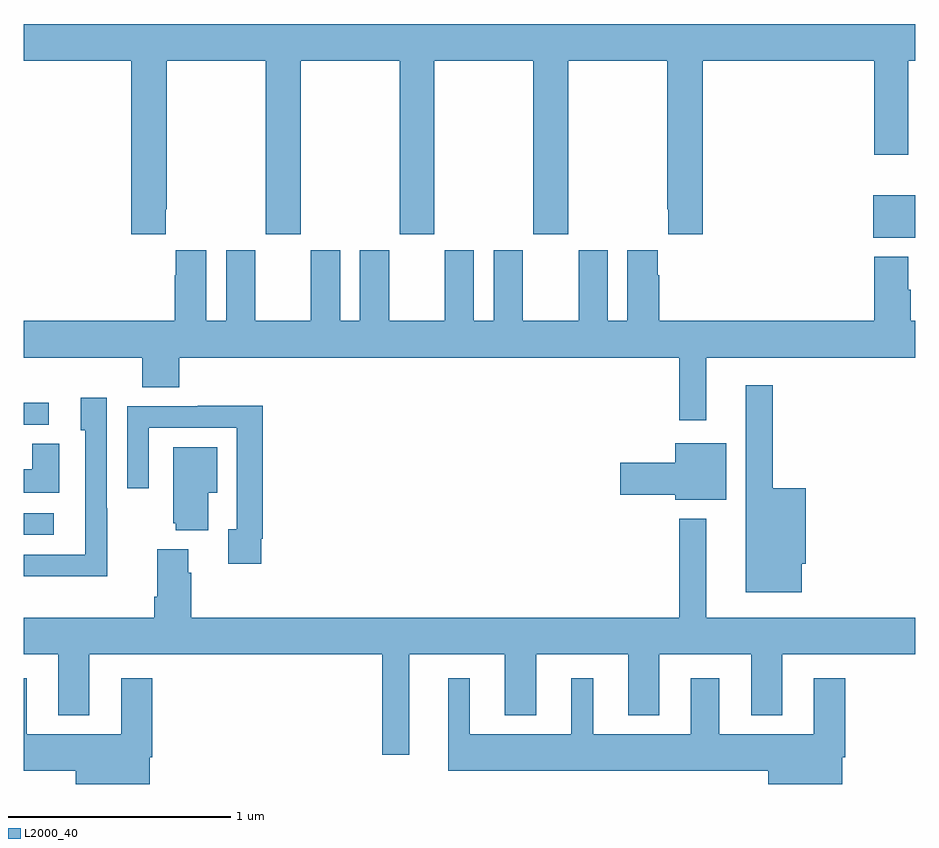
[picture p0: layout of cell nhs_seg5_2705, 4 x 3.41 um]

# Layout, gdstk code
import gdstk
lib = gdstk.Library(unit=1e-6, precision=1e-09)
def R(c, l, rs):  # rectangles x0, y0, x1, y1
    for r in rs: c.add(gdstk.rectangle(r[:2], r[2:], *l))
def P(c, l, *ps):  # polygons
    for p in ps: c.add(gdstk.Polygon(p, *l))
L2000_40 = (2000, 40)

nhs_seg5_2705 = lib.new_cell('nhs_seg5_2705')
R(nhs_seg5_2705, L2000_40, [(267,903.918,267.136,904.014), (267,904.41,267.112,904.508), (270.812,905.249,271,905.44)])
P(nhs_seg5_2705, L2000_40, [(267.637,905.377),(267.642,905.377),(267.642,906.044),(268.087,906.044),(268.087,905.265),(268.242,905.265),(268.242,906.044),(268.687,906.044),(268.687,905.265),(268.842,905.265),(268.842,906.044),(269.287,906.044),(269.287,905.265),(269.442,905.265),(269.442,906.044),(269.887,906.044),(269.887,905.377),(269.891,905.377),(269.891,905.265),(270.047,905.265),(270.047,906.044),(270.815,906.044),(270.815,905.622),(270.967,905.622),(270.967,906.044),(271,906.044),(271,906.208),(267,906.208),(267,906.044),(267.482,906.044),(267.482,905.265),(267.637,905.265)],
  [(269.845,905.081),(269.845,905.194),(269.708,905.194),(269.708,904.876),(269.62,904.876),(269.62,905.194),(269.489,905.194),(269.489,904.876),(269.239,904.876),(269.239,905.194),(269.108,905.194),(269.108,904.876),(269.02,904.876),(269.02,905.194),(268.889,905.194),(268.889,904.876),(268.639,904.876),(268.639,905.194),(268.508,905.194),(268.508,904.876),(268.42,904.876),(268.42,905.194),(268.289,905.194),(268.289,904.876),(268.039,904.876),(268.039,905.194),(267.908,905.194),(267.908,904.876),(267.82,904.876),(267.82,905.194),(267.683,905.194),(267.683,905.081),(267.677,905.081),(267.677,904.876),(267,904.876),(267,904.712),(267.533,904.712),(267.533,904.579),(267.698,904.579),(267.698,904.712),(269.94,904.712),(269.94,904.431),(270.061,904.431),(270.061,904.712),(271,904.712),(271,904.876),(270.98,904.876),(270.98,905.015),(270.967,905.015),(270.967,905.164),(270.815,905.164),(270.815,904.876),(269.852,904.876),(269.852,905.081)],
  [(270.49,903.786),(270.508,903.786),(270.508,904.126),(270.361,904.126),(270.361,904.588),(270.239,904.588),(270.239,903.659),(270.49,903.659)],
  [(267.375,904.037),(267.372,904.037),(267.372,904.531),(267.257,904.531),(267.257,904.386),(267.276,904.386),(267.276,903.828),(267,903.828),(267,903.731),(267.375,903.731)],
  [(268.066,903.898),(268.073,903.898),(268.073,904.496),(267.781,904.496),(267.781,904.494),(267.465,904.494),(267.465,904.125),(267.561,904.125),(267.561,904.398),(267.957,904.398),(267.957,903.942),(267.917,903.942),(267.917,903.786),(268.066,903.786)],
  [(270.151,904.327),(269.924,904.327),(269.924,904.239),(269.676,904.239),(269.676,904.097),(269.924,904.097),(269.924,904.073),(270.151,904.073)],
  [(267.16,904.325),(267.039,904.325),(267.039,904.21),(267,904.21),(267,904.106),(267.16,904.106)],
  [(267.829,904.106),(267.868,904.106),(267.868,904.309),(267.671,904.309),(267.671,903.969),(267.683,903.969),(267.683,903.938),(267.829,903.938)],
  [(268.729,903.38),(269.159,903.38),(269.159,903.107),(269.299,903.107),(269.299,903.38),(269.711,903.38),(269.711,903.107),(269.851,903.107),(269.851,903.38),(270.263,903.38),(270.263,903.107),(270.403,903.107),(270.403,903.38),(271,903.38),(271,903.544),(270.061,903.544),(270.061,903.988),(269.94,903.988),(269.94,903.544),(267.752,903.544),(267.752,903.746),(267.739,903.746),(267.739,903.853),(267.599,903.853),(267.599,903.64),(267.587,903.64),(267.587,903.544),(267,903.544),(267,903.38),(267.155,903.38),(267.155,903.107),(267.295,903.107),(267.295,903.38),(268.608,903.38),(268.608,902.931),(268.729,902.931)],
  [(270.673,902.918),(270.686,902.918),(270.686,903.274),(270.545,903.274),(270.545,903.022),(270.121,903.022),(270.121,903.274),(269.993,903.274),(269.993,903.022),(269.554,903.022),(269.554,903.274),(269.456,903.274),(269.456,903.022),(269.002,903.022),(269.002,903.274),(268.904,903.274),(268.904,902.858),(270.341,902.858),(270.341,902.799),(270.673,902.799)],
  [(267.565,902.918),(267.578,902.918),(267.578,903.274),(267.437,903.274),(267.437,903.022),(267.013,903.022),(267.013,903.274),(267,903.274),(267,902.858),(267.233,902.858),(267.233,902.799),(267.565,902.799)])

lib.write_gds('nhs_seg5_2705.gds')
